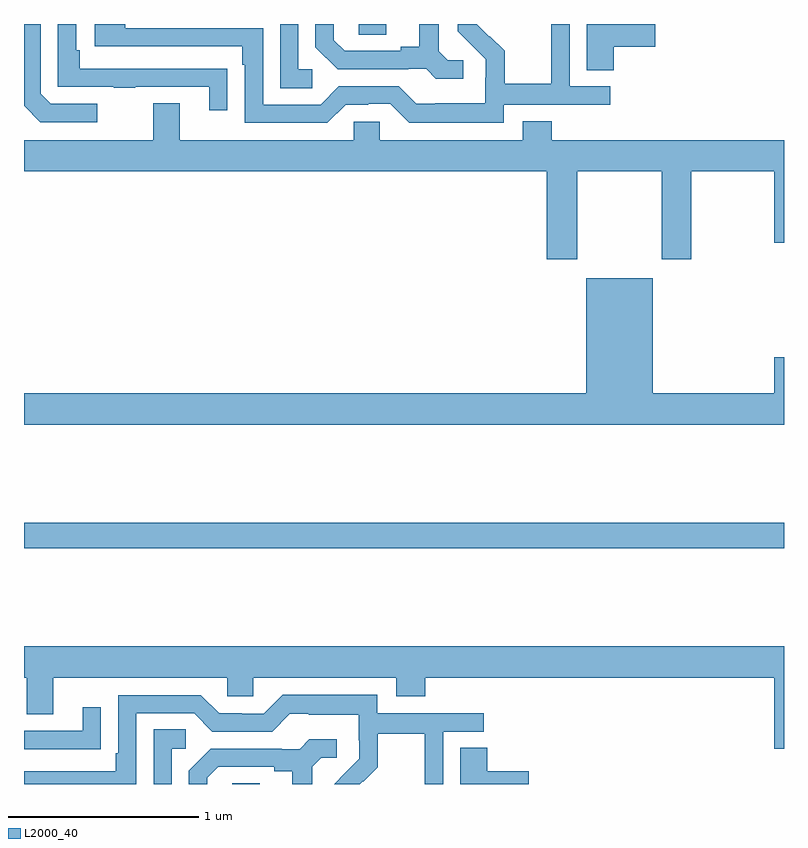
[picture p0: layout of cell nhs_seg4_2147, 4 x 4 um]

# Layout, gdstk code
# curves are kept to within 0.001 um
import gdstk
lib = gdstk.Library(unit=1e-6, precision=1e-09)
def R(c, l, rs):  # rectangles x0, y0, x1, y1
    for r in rs: c.add(gdstk.rectangle(r[:2], r[2:], *l))
def P(c, l, *ps):  # polygons
    for p in ps: c.add(gdstk.Polygon(p, *l))
L2000_40 = (2000, 40)

nhs_seg4_2147 = lib.new_cell('nhs_seg4_2147')
R(nhs_seg4_2147, L2000_40, [(222.096,822.9,222.241,822.905), (221,824.14,225,824.276), (222.762,826.843,222.907,826.9)])
P(nhs_seg4_2147, L2000_40, [(223.524,826.476),(224.086,826.476),(224.086,826.572),(223.872,826.572),(223.872,826.9),(223.776,826.9),(223.776,826.808),(223.774,826.808),(223.774,826.585),(223.529,826.585),(223.529,826.759),(223.452,826.836),(223.449,826.833),(223.383,826.9),(223.284,826.9),(223.284,826.862),(223.43,826.714),(223.43,826.617),(223.428,826.617),(223.428,826.483),(223.165,826.483),(223.165,826.479),(223.065,826.479),(222.972,826.572),(222.657,826.572),(222.561,826.476),(222.258,826.476),(222.258,826.878),(221.534,826.878),(221.534,826.9),(221.373,826.9),(221.373,826.782),(222.149,826.782),(222.149,826.685),(222.162,826.685),(222.162,826.38),(222.597,826.38),(222.693,826.476),(222.812,826.476),(222.812,826.479),(222.927,826.479),(223.027,826.379),(223.524,826.379)],
  [(223.312,826.71),(223.23,826.71),(223.183,826.757),(223.183,826.9),(223.079,826.9),(223.079,826.781),(222.983,826.781),(222.983,826.758),(222.688,826.758),(222.631,826.815),(222.631,826.9),(222.534,826.9),(222.534,826.778),(222.65,826.662),(223.022,826.662),(223.022,826.665),(223.116,826.665),(223.168,826.613),(223.312,826.613)],
  [(224.105,826.781),(224.323,826.781),(224.323,826.9),(223.961,826.9),(223.961,826.657),(224.105,826.657)],
  [(222.517,826.662),(222.444,826.662),(222.444,826.9),(222.348,826.9),(222.348,826.561),(222.517,826.561)],
  [(221.386,826.479),(221.142,826.479),(221.088,826.533),(221.088,826.9),(221,826.9),(221,826.469),(221.085,826.383),(221.386,826.383)],
  [(222.071,826.664),(221.969,826.664),(221.969,826.665),(221.294,826.665),(221.294,826.762),(221.274,826.762),(221.274,826.9),(221.178,826.9),(221.178,826.569),(221.473,826.569),(221.473,826.564),(221.585,826.564),(221.585,826.569),(221.975,826.569),(221.975,826.446),(222.071,826.446)],
  [(223.911,826.124),(224.356,826.124),(224.356,825.663),(224.511,825.663),(224.511,826.124),(224.948,826.124),(224.948,825.75),(225,825.75),(225,826.288),(223.778,826.288),(223.778,826.387),(223.625,826.387),(223.625,826.288),(222.873,826.288),(222.873,826.386),(222.735,826.386),(222.735,826.288),(221.821,826.288),(221.821,826.483),(221.681,826.483),(221.681,826.288),(221,826.288),(221,826.124),(223.751,826.124),(223.751,825.663),(223.911,825.663)],
  [(225,825.145),(224.948,825.145),(224.948,824.956),(224.308,824.956),(224.308,825.562),(223.958,825.562),(223.958,824.956),(221,824.956),(221,824.792),(225,824.792)],
  [(225,823.624),(221,823.624),(221,823.46),(221.015,823.46),(221.015,823.266),(221.155,823.266),(221.155,823.46),(222.069,823.46),(222.069,823.362),(222.207,823.362),(222.207,823.46),(222.959,823.46),(222.959,823.361),(223.112,823.361),(223.112,823.46),(224.948,823.46),(224.948,823.086),(225,823.086)],
  [(221.592,823.272),(221.895,823.272),(221.991,823.176),(222.306,823.176),(222.399,823.269),(222.499,823.269),(222.499,823.265),(222.762,823.265),(222.762,823.131),(222.764,823.131),(222.764,823.034),(222.632,822.9),(222.768,822.9),(222.783,822.915),(222.786,822.912),(222.863,822.989),(222.863,823.164),(223.108,823.164),(223.108,822.94),(223.11,822.94),(223.11,822.9),(223.206,822.9),(223.206,823.176),(223.42,823.176),(223.42,823.272),(222.858,823.272),(222.858,823.369),(222.361,823.369),(222.261,823.269),(222.146,823.269),(222.146,823.272),(222.027,823.272),(221.931,823.368),(221.496,823.368),(221.496,823.063),(221.483,823.063),(221.483,822.966),(221,822.966),(221,822.9),(221.592,822.9)],
  [(221.303,823.084),(221.405,823.084),(221.405,823.303),(221.309,823.303),(221.309,823.179),(221,823.179),(221,823.083),(221.303,823.083)],
  [(221.778,823.086),(221.851,823.086),(221.851,823.187),(221.682,823.187),(221.682,822.9),(221.778,822.9)],
  [(221.965,822.933),(222.022,822.99),(222.317,822.99),(222.317,822.968),(222.413,822.968),(222.413,822.9),(222.517,822.9),(222.517,822.991),(222.564,823.038),(222.646,823.038),(222.646,823.135),(222.502,823.135),(222.45,823.083),(222.356,823.083),(222.356,823.086),(221.984,823.086),(221.868,822.97),(221.868,822.9),(221.965,822.9)],
  [(223.657,822.968),(223.439,822.968),(223.439,823.091),(223.295,823.091),(223.295,822.9),(223.657,822.9)])

lib.write_gds('nhs_seg4_2147.gds')
